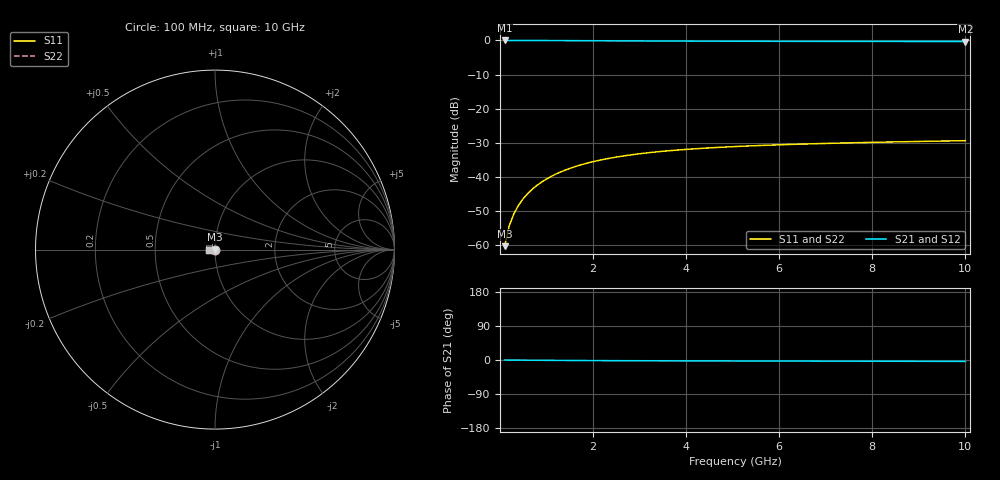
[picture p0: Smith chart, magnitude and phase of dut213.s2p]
! Touchstone file exported from HFSS 2024.1.0
!  File:  C:/UserFiles/LocalFiles/RDL_TSV_Batchsim/temp_TSV1_213_1778766953.aedt
!  Generated:  10:03:53 PM May 14, 2026
!  Design:  TSV1
!  Project:  temp_TSV1_213_1778766953
!  Setup:  Setup1
!  Solution:  Sweep
! Variables:
!  dtsv = 12.35um
!  hbump = 3um
!  htsv = 53.14um
!  lrdl = 252.1521522um
!  p = 40
!  p1 = 54.22um
!  t = 500um
!  trdl = 3um
!  wrdl = 24.89489489um
# GHz S MA R 50.000000
! Terminal data exported
! Port[1] = TSV22_T1
! Port[2] = TSV22_T2
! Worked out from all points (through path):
!   100 points, 100 MHz to 10 GHz, reference 50 ohm
!   highest |S21| = 0.00 dB at 100 MHz (marker M1); lowest = -0.3 dB at 10 GHz (marker M2)
!   lowest |S11| = -60.3 dB at 100 MHz (marker M3), VSWR 1.00, Z = 50 - j0.0966 ohm
!   |S11| at or under -10 dB: start of sweep to end of sweep
!   |S22| runs from -60.3 to -29.4 dB; largest |S21 - S12| = 4.1e-15
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0.1  0.0009664 -87.5  0.9999 -0.1  0.9999 -0.1  0.0009664 -87.5
! Gamma 0 0 0 0
! Port Impedance 50 0 50 0
0.2  0.001929 -91.4  0.9998 -0.2  0.9998 -0.2  0.001929 -91.4
0.3  0.002891 -94.0  0.9996 -0.3  0.9996 -0.3  0.002891 -94.0
0.4  0.003849 -96.2  0.9994 -0.4  0.9994 -0.4  0.003849 -96.2
0.5  0.004799 -98.3  0.9991 -0.5  0.9991 -0.5  0.004799 -98.3
0.6  0.005736 -100.3  0.9987 -0.6  0.9987 -0.6  0.005736 -100.3
0.7  0.00666 -102.3  0.9983 -0.6  0.9983 -0.6  0.00666 -102.3
0.8  0.007566 -104.2  0.9979 -0.7  0.9979 -0.7  0.007566 -104.2
0.9  0.008455 -106.1  0.9974 -0.8  0.9974 -0.8  0.008455 -106.1
1.1  0.01017 -109.8  0.9963 -1.0  0.9963 -1.0  0.01017 -109.8
1.4  0.01257 -114.9  0.9944 -1.2  0.9944 -1.2  0.01257 -114.9
1.6  0.01405 -118.2  0.9931 -1.3  0.9931 -1.3  0.01405 -118.2
1.8  0.01543 -121.3  0.9917 -1.4  0.9917 -1.4  0.01543 -121.3
2.1  0.01732 -125.7  0.9896 -1.6  0.9896 -1.6  0.01732 -125.7
2.5  0.01953 -131.1  0.9869 -1.8  0.9869 -1.8  0.01953 -131.1
2.9  0.02142 -135.9  0.9843 -1.9  0.9843 -1.9  0.02142 -135.9
3.4  0.02339 -141.3  0.9815 -2.1  0.9815 -2.1  0.02339 -141.3
4.2  0.02587 -148.8  0.9775 -2.3  0.9775 -2.3  0.02587 -148.8
5.1  0.02796 -155.7  0.9741 -2.6  0.9741 -2.6  0.02796 -155.7
6.7  0.03057 -165.6  0.9698 -2.9  0.9698 -2.9  0.03057 -165.6
8.4  0.03252 -173.9  0.9668 -3.3  0.9668 -3.3  0.03252 -173.9
10  0.03397 179.5  0.9648 -3.7  0.9648 -3.7  0.03397 179.5
